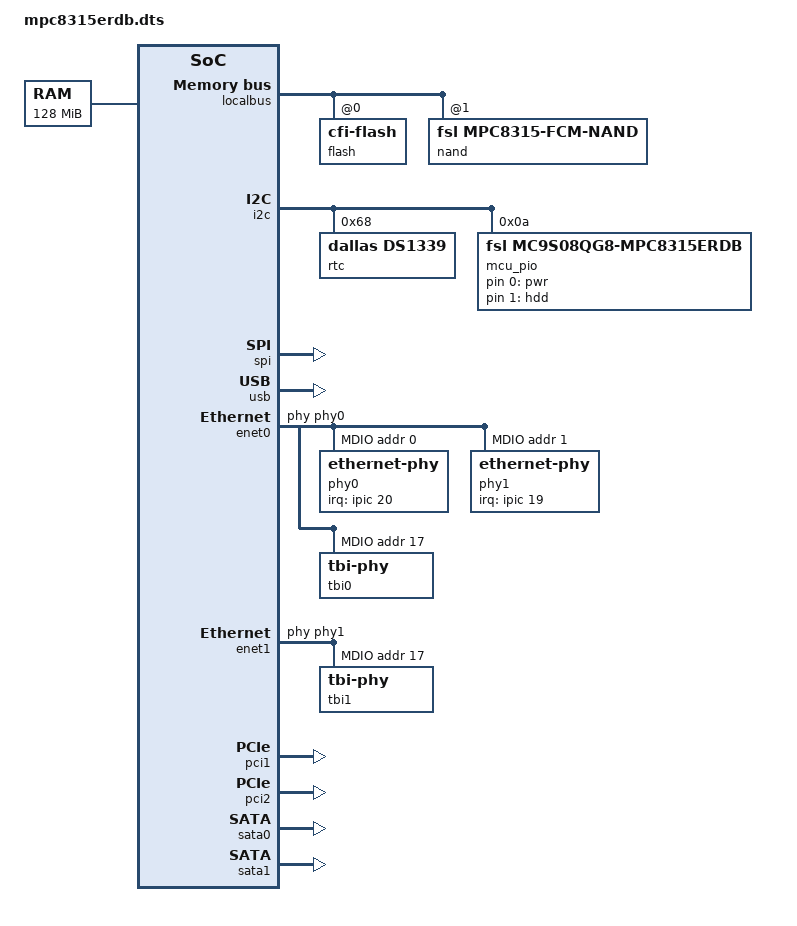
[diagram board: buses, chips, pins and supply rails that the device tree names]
// SPDX-License-Identifier: GPL-2.0-or-later
/*
 * MPC8315E RDB Device Tree Source
 *
 * Copyright 2007 Freescale Semiconductor Inc.
 */

#include "mpc8315e.dtsi"

/ {
	compatible = "fsl,mpc8315erdb";

	aliases {
		ethernet0 = &enet0;
		ethernet1 = &enet1;
		serial0 = &serial0;
		serial1 = &serial1;
		pci0 = &pci0;
		pci1 = &pci1;
		pci2 = &pci2;
	};

	memory {
		reg = <0x00000000 0x08000000>;	// 128MB at 0
	};

	leds {
		compatible = "gpio-leds";

		pwr {
			gpios = <&mcu_pio 0 0>;
			default-state = "on";
		};

		hdd {
			gpios = <&mcu_pio 1 0>;
			linux,default-trigger = "disk-activity";
		};
	};
};

&localbus {
	status = "okay";

	// CS0 and CS1 are swapped when
	// booting from nand, but the
	// addresses are the same.
	ranges = <0x0 0x0 0xfe000000 0x00800000
		  0x1 0x0 0xe0600000 0x00002000
		  0x2 0x0 0xf0000000 0x00020000
		  0x3 0x0 0xfa000000 0x00008000>;

	flash@0,0 {
		#address-cells = <1>;
		#size-cells = <1>;
		compatible = "cfi-flash";
		reg = <0x0 0x0 0x800000>;
		bank-width = <2>;
		device-width = <1>;
	};

	nand@1,0 {
		#address-cells = <1>;
		#size-cells = <1>;
		compatible = "fsl,mpc8315-fcm-nand",
			     "fsl,elbc-fcm-nand";
		reg = <0x1 0x0 0x2000>;

		u-boot@0 {
			reg = <0x0 0x100000>;
			read-only;
		};

		kernel@100000 {
			reg = <0x100000 0x300000>;
		};
		fs@400000 {
			reg = <0x400000 0x1c00000>;
		};
	};
};

&i2c {
	status = "okay";

	rtc@68 {
		compatible = "dallas,ds1339";
		reg = <0x68>;
	};

	mcu_pio: mcu@a {
		#gpio-cells = <2>;
		compatible = "fsl,mc9s08qg8-mpc8315erdb",
			     "fsl,mcu-mpc8349emitx";
		reg = <0x0a>;
		gpio-controller;
	};
};

&spi {
	status = "okay";
};

&usb {
	status = "okay";
};

&enet0 {
	tbi-handle = <&tbi0>;
	phy-handle = < &phy0 >;
	fsl,magic-packet;
	status = "okay";

	mdio@520 {
		status = "okay";

		phy0: ethernet-phy@0 {
			interrupt-parent = <&ipic>;
			interrupts = <20 IRQ_TYPE_LEVEL_LOW>;
			reg = <0x0>;
		};

		phy1: ethernet-phy@1 {
			interrupt-parent = <&ipic>;
			interrupts = <19 IRQ_TYPE_LEVEL_LOW>;
			reg = <0x1>;
		};

		tbi0: tbi-phy@11 {
			reg = <0x11>;
			device_type = "tbi-phy";
		};
	};
};

&enet1 {
	tbi-handle = <&tbi1>;
	phy-handle = < &phy1 >;
	fsl,magic-packet;
	status = "okay";

	mdio@520 {
		status = "okay";

		tbi1: tbi-phy@11 {
			reg = <0x11>;
			device_type = "tbi-phy";
		};
	};
};

&pci1 {
	status = "okay";

	pcie@0 {
		#address-cells = <3>;
		#size-cells = <2>;
		device_type = "pci";
		reg = <0 0 0 0 0>;
		ranges = <0x02000000 0 0xa0000000
			  0x02000000 0 0xa0000000
			  0 0x10000000
			  0x01000000 0 0x00000000
			  0x01000000 0 0x00000000
			  0 0x00800000>;
	};
};

&pci2 {
	status = "okay";

	pcie@0 {
		#address-cells = <3>;
		#size-cells = <2>;
		device_type = "pci";
		reg = <0 0 0 0 0>;
		ranges = <0x02000000 0 0xc0000000
			  0x02000000 0 0xc0000000
			  0 0x10000000
			  0x01000000 0 0x00000000
			  0x01000000 0 0x00000000
			  0 0x00800000>;
	};
};

&sata0 {
	status = "okay";
};

&sata1 {
	status = "okay";
};
